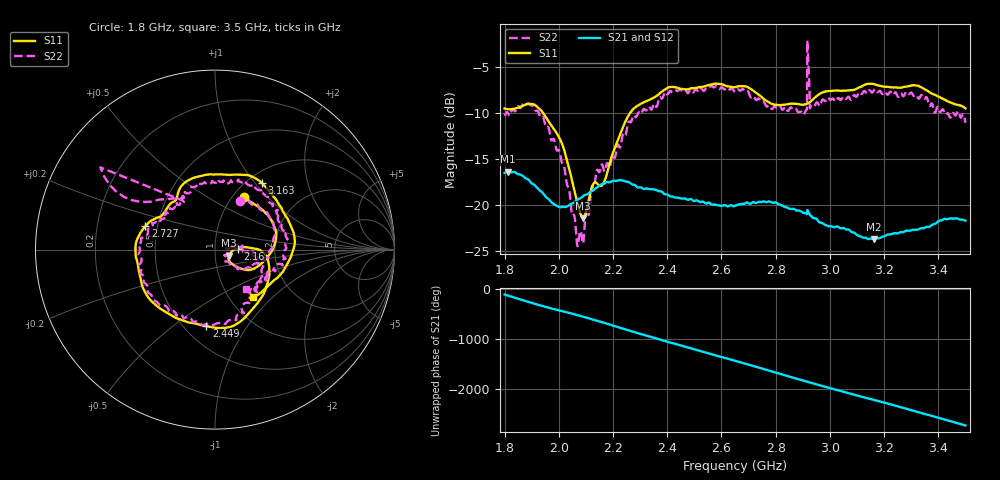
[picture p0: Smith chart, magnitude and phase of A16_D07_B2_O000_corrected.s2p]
! Created with skrf 1.9.0 (http://scikit-rf.org).
# Hz S RI R 50.0
!freq ReS11 ImS11 ReS21 ImS21 ReS12 ImS12 ReS22 ImS22
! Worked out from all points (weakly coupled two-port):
!   1601 points, 1.8 GHz to 3.5 GHz, reference 50 ohm
!   highest |S21| = -16.38 dB at 1.812 GHz (marker M1); lowest = -23.7 dB at 3.163 GHz (marker M2)
!   lowest |S11| = -21.4 dB at 2.089 GHz (marker M3), VSWR 1.19, Z = 58.3 - j3.91 ohm
!   |S11| at or under -10 dB: 1.943 GHz to 2.263 GHz (320.1 MHz wide, 15.2 % of centre)
!   |S22| runs from -24.5 to -2.1 dB; largest |S21 - S12| = 0.0028
!   S11 on the Smith chart (normalised r, x): 1.8 GHz: 1.13, +0.75; 2.16 GHz: 1.29, +0.01; 2.449 GHz: 0.64, -0.67; 2.727 GHz: 0.43, +0.13; 3.163 GHz: 1.15, +1.09; 3.5 GHz: 1.28, -0.76
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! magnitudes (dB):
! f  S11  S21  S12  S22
! 1.8 GHz  -9.5  -16.5  -16.5  -10.3
! 1.812 GHz  -9.6  -16.4  -16.4  -10.0
! 1.888 GHz  -9.0  -17.2  -17.3  -8.9
! 1.941 GHz  -9.9  -18.7  -18.7  -10.4
! 2.013 GHz  -13.4  -20.2  -20.2  -15.5
! 2.067 GHz  -19.5  -19.5  -19.5  -24.1
! 2.084 GHz  -21.2  -19.2  -19.2  -23.2
! 2.089 GHz  -21.4  -19.0  -19.1  -24.2
! 2.127 GHz  -17.7  -18.4  -18.4  -18.0
! 2.16 GHz  -17.8  -17.7  -17.7  -15.6
! 2.26 GHz  -10.1  -17.5  -17.5  -10.9
! 2.367 GHz  -8.0  -18.5  -18.4  -8.7
! 2.449 GHz  -7.4  -19.3  -19.3  -7.4
! 2.65 GHz  -7.2  -20.1  -20.1  -7.7
! 2.727 GHz  -7.8  -19.8  -19.8  -8.5
! 2.903 GHz  -9.1  -20.9  -20.8  -10.2
! 2.925 GHz  -8.8  -21.0  -21.0  -7.6
! 2.934 GHz  -8.6  -21.3  -21.3  -9.1
! 3.163 GHz  -6.8  -23.7  -23.7  -7.5
! 3.217 GHz  -7.1  -23.2  -23.2  -7.9
! 3.324 GHz  -7.0  -22.7  -22.7  -8.2
! 3.5 GHz  -9.5  -21.7  -21.7  -11.0
